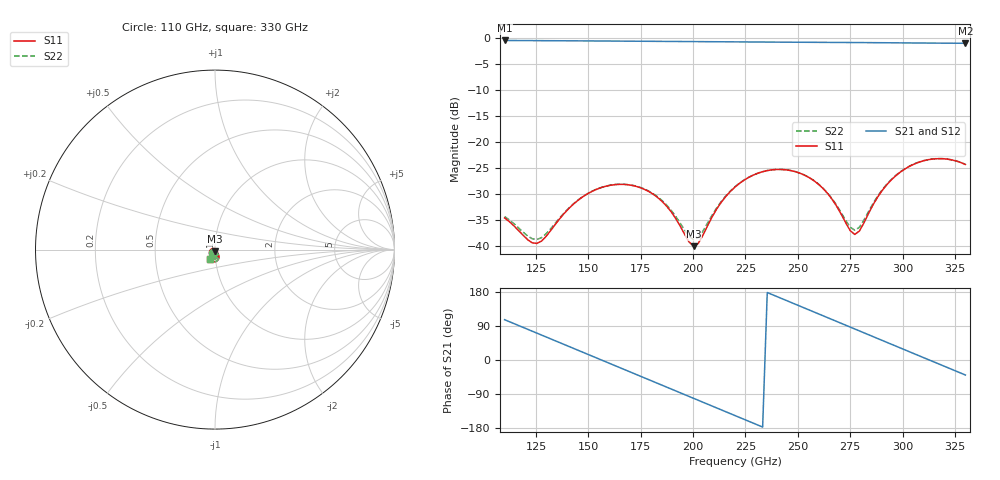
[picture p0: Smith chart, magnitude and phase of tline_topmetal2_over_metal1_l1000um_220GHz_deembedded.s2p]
! Created with skrf 2.2.0 (http://scikit-rf.org).
# GHz S DB R 50.0
! Port[1] = P1
! Port[2] = P2
!freq dBS11 angS11 dBS21 angS21 dBS12 angS12 dBS22 angS22
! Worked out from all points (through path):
!   101 points, 110 GHz to 330 GHz, reference 50 ohm
!   highest |S21| = -0.55 dB at 110 GHz (marker M1); lowest = -1.1 dB at 330 GHz (marker M2)
!   group delay of S21, straight-line fit = 6.39 ps
!   lowest |S11| = -40.0 dB at 200.2 GHz (marker M3), VSWR 1.02, Z = 49.8 - j0.987 ohm
!   |S11| at or under -10 dB: start of sweep to end of sweep
!   |S22| runs from -38.7 to -23.2 dB; largest |S21 - S12| = 1.1e-14
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110  -34.55 -122.9  -0.55 106.3  -0.55 106.3  -34.28 -120.6
125.4  -39.43 -94.3  -0.59 70.9  -0.59 70.9  -38.67 -95.4
136.4  -34.66 -66.3  -0.61 45.6  -0.61 45.6  -34.49 -68.6
147.4  -30.47 -74.3  -0.64 20.3  -0.64 20.3  -30.44 -75.2
156.2  -28.72 -87.6  -0.66 0.1  -0.66 0.1  -28.70 -87.9
165  -28.11 -102.6  -0.68 -20.1  -0.68 -20.1  -28.08 -102.3
173.8  -28.62 -117.7  -0.70 -40.4  -0.70 -40.4  -28.56 -116.8
184.8  -31.23 -133.5  -0.73 -65.7  -0.73 -65.7  -31.08 -131.4
200.2  -39.95 -99.9  -0.77 -101.1  -0.77 -101.1  -38.68 -100.1
209  -34.40 -56.5  -0.79 -121.3  -0.79 -121.3  -34.06 -60.8
220  -28.63 -63.2  -0.82 -146.6  -0.82 -146.6  -28.57 -65.5
228.8  -26.33 -77.3  -0.85 -166.8  -0.85 -166.8  -26.31 -78.8
237.6  -25.34 -93.2  -0.87 173.0  -0.87 173.0  -25.33 -94.1
246.4  -25.46 -109.2  -0.89 152.7  -0.89 152.7  -25.45 -109.6
257.4  -27.33 -127.4  -0.91 127.4  -0.91 127.4  -27.31 -127.0
268.4  -32.21 -135.4  -0.93 102.1  -0.93 102.1  -32.03 -133.6
277.2  -37.71 -96.5  -0.95 81.8  -0.95 81.8  -36.90 -96.5
294.8  -27.19 -59.2  -1.00 41.3  -1.00 41.3  -27.11 -61.1
303.6  -24.60 -72.4  -1.03 21.0  -1.03 21.0  -24.56 -73.7
312.4  -23.38 -87.8  -1.05 0.8  -1.05 0.8  -23.36 -88.8
321.2  -23.28 -103.8  -1.08 -19.4  -1.08 -19.4  -23.26 -104.4
330  -24.31 -118.9  -1.09 -39.6  -1.09 -39.6  -24.29 -119.3
